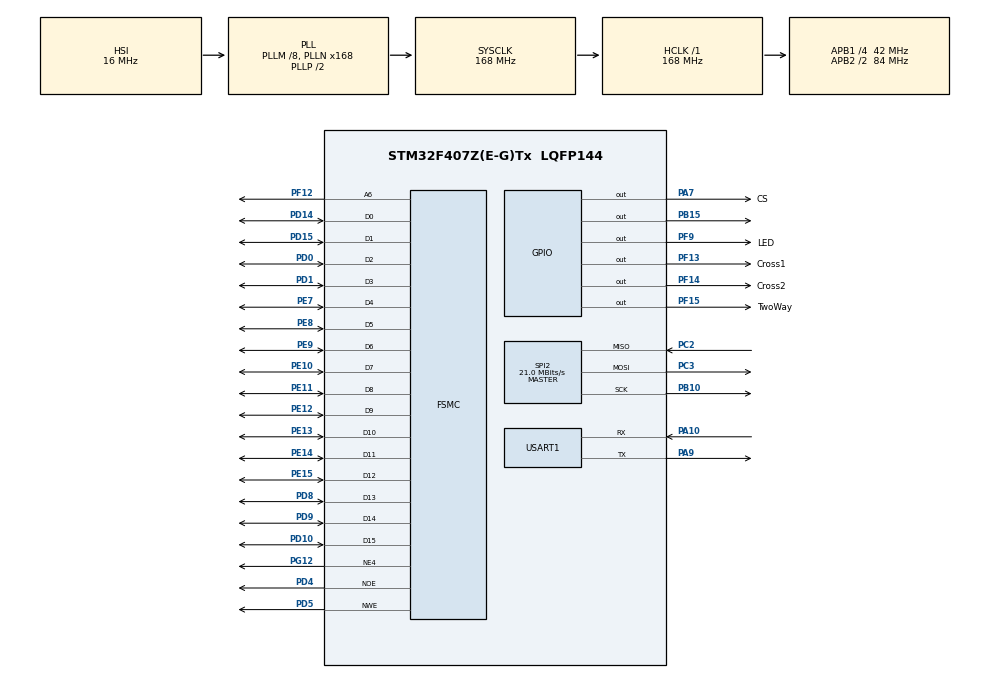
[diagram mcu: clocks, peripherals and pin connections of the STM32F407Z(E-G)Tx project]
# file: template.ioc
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Dma.Request0=USART1_TX
Dma.USART1_TX.0.Direction=DMA_MEMORY_TO_PERIPH
Dma.USART1_TX.0.FIFOMode=DMA_FIFOMODE_DISABLE
Dma.USART1_TX.0.Instance=DMA2_Stream7
Dma.USART1_TX.0.MemDataAlignment=DMA_MDATAALIGN_BYTE
Dma.USART1_TX.0.MemInc=DMA_MINC_ENABLE
Dma.USART1_TX.0.Mode=DMA_NORMAL
Dma.USART1_TX.0.PeriphDataAlignment=DMA_PDATAALIGN_BYTE
Dma.USART1_TX.0.PeriphInc=DMA_PINC_DISABLE
Dma.USART1_TX.0.Priority=DMA_PRIORITY_LOW
FREERTOS.Tasks01=defaultTask,0,128,StartDefaultTask,Default,NULL,Dynamic,NULL,NULL
FREERTOS.configENABLE_FPU=1
FREERTOS.configUSE_TICKLESS_IDLE=0
FREERTOS.configUSE_TICK_HOOK=1
FSMC.BusTurnAroundDuration1=10
FSMC.DataSetupTime1=60
FSMC.ExtendedAddressSetupTime1=9
FSMC.ExtendedBusTurnAroundDuration1=0
FSMC.ExtendedDataSetupTime1=8
FSMC.ExtendedMode1=FSMC_EXTENDED_MODE_ENABLE
Mcu.Family=STM32F4
Mcu.Name=STM32F407Z(E-G)Tx
Mcu.Package=LQFP144
NVIC.DMA2_Stream7_IRQn=true\:5\:0\:false\:false\:true\:true\:false\:true
NVIC.PriorityGroup=NVIC_PRIORITYGROUP_4
NVIC.TIM8_TRG_COM_TIM14_IRQn=true\:0\:0\:false\:false\:true\:false\:false\:true
NVIC.TimeBase=TIM8_TRG_COM_TIM14_IRQn
NVIC.TimeBaseIP=TIM14
NVIC.USART1_IRQn=true\:5\:0\:false\:false\:true\:true\:true\:true
PA10.Mode=Asynchronous
PA10.Signal=USART1_RX
PA13.Mode=Serial_Wire
PA13.Signal=SYS_JTMS-SWDIO
PA14.Mode=Serial_Wire
PA14.Signal=SYS_JTCK-SWCLK
PA7.GPIO_Label=CS
PA7.Signal=GPIO_Output
PA9.Mode=Asynchronous
PA9.Signal=USART1_TX
PB10.Mode=Full_Duplex_Master
PB10.Signal=SPI2_SCK
PB15.Signal=GPIO_Output
PC14-OSC32_IN.Mode=LSE-External-Oscillator
PC14-OSC32_IN.Signal=RCC_OSC32_IN
PC15-OSC32_OUT.Mode=LSE-External-Oscillator
PC15-OSC32_OUT.Signal=RCC_OSC32_OUT
PC2.Mode=Full_Duplex_Master
PC2.Signal=SPI2_MISO
PC3.Mode=Full_Duplex_Master
PC3.Signal=SPI2_MOSI
PD0.Signal=FSMC_D2_DA2
PD1.Signal=FSMC_D3_DA3
PD10.Signal=FSMC_D15_DA15
PD14.Signal=FSMC_D0_DA0
PD15.Signal=FSMC_D1_DA1
PD4.Signal=FSMC_NOE
PD5.Signal=FSMC_NWE
PD8.Signal=FSMC_D13_DA13
PD9.Signal=FSMC_D14_DA14
PE10.Signal=FSMC_D7_DA7
PE11.Signal=FSMC_D8_DA8
PE12.Signal=FSMC_D9_DA9
PE13.Signal=FSMC_D10_DA10
PE14.Signal=FSMC_D11_DA11
PE15.Signal=FSMC_D12_DA12
PE7.Signal=FSMC_D4_DA4
PE8.Signal=FSMC_D5_DA5
PE9.Signal=FSMC_D6_DA6
PF12.Signal=FSMC_A6
PF13.GPIO_Label=Cross1
PF13.Signal=GPIO_Output
PF14.GPIO_Label=Cross2
PF14.Signal=GPIO_Output
PF15.GPIO_Label=TwoWay
PF15.Signal=GPIO_Output
PF9.GPIO_Label=LED
PF9.Signal=GPIO_Output
PG12.Mode=NorPsramChipSelect4_1
PG12.Signal=FSMC_NE4
PH0-OSC_IN.Mode=HSE-External-Oscillator
PH0-OSC_IN.Signal=RCC_OSC_IN
PH1-OSC_OUT.Mode=HSE-External-Oscillator
PH1-OSC_OUT.Signal=RCC_OSC_OUT
ProjectManager.HeapSize=0x3000
ProjectManager.StackSize=0x2000
ProjectManager.TargetToolchain=Makefile
RCC.48MHZClocksFreq_Value=84000000
RCC.AHBFreq_Value=168000000
RCC.APB1CLKDivider=RCC_HCLK_DIV4
RCC.APB1Freq_Value=42000000
RCC.APB1TimFreq_Value=84000000
RCC.APB2CLKDivider=RCC_HCLK_DIV2
RCC.APB2Freq_Value=84000000
RCC.APB2TimFreq_Value=168000000
RCC.CortexFreq_Value=168000000
RCC.HCLKFreq_Value=168000000
RCC.HSE_VALUE=25000000
RCC.HSI_VALUE=16000000
RCC.PLLM=8
RCC.PLLN=168
RCC.SYSCLKFreq_VALUE=168000000
RCC.SYSCLKSource=RCC_SYSCLKSOURCE_PLLCLK
RCC.VCOOutputFreq_Value=336000000
SH.FSMC_A6.0=FSMC_A6,A6_1
SH.FSMC_D0_DA0.0=FSMC_D0,16b-d1
SH.FSMC_D10_DA10.0=FSMC_D10,16b-d1
SH.FSMC_D11_DA11.0=FSMC_D11,16b-d1
SH.FSMC_D12_DA12.0=FSMC_D12,16b-d1
SH.FSMC_D13_DA13.0=FSMC_D13,16b-d1
SH.FSMC_D14_DA14.0=FSMC_D14,16b-d1
SH.FSMC_D15_DA15.0=FSMC_D15,16b-d1
SH.FSMC_D1_DA1.0=FSMC_D1,16b-d1
SH.FSMC_D2_DA2.0=FSMC_D2,16b-d1
SH.FSMC_D3_DA3.0=FSMC_D3,16b-d1
SH.FSMC_D4_DA4.0=FSMC_D4,16b-d1
SH.FSMC_D5_DA5.0=FSMC_D5,16b-d1
SH.FSMC_D6_DA6.0=FSMC_D6,16b-d1
SH.FSMC_D7_DA7.0=FSMC_D7,16b-d1
SH.FSMC_D8_DA8.0=FSMC_D8,16b-d1
SH.FSMC_D9_DA9.0=FSMC_D9,16b-d1
SH.FSMC_NOE.0=FSMC_NOE,Lcd1
SH.FSMC_NWE.0=FSMC_NWE,Lcd1
SPI2.CalculateBaudRate=21.0 MBits/s
SPI2.Direction=SPI_DIRECTION_2LINES
SPI2.Mode=SPI_MODE_MASTER
SPI2.VirtualType=VM_MASTER
USART1.VirtualMode=VM_ASYNC
VP_FREERTOS_VS_CMSIS_V1.Mode=CMSIS_V1
VP_SYS_VS_tim14.Mode=TIM14
board=custom

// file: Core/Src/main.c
/* USER CODE BEGIN Header */
/**
  ******************************************************************************
  * @file           : main.c
  * @brief          : Main program body
  ******************************************************************************
  * @attention
  *
  * <h2><center>&copy; Copyright (c) 2021 STMicroelectronics.
  * All rights reserved.</center></h2>
  *
  * This software component is licensed by ST under Ultimate Liberty license
  * SLA0044, the "License"; You may not use this file except in compliance with
  * the License. You may obtain a copy of the License at:
  *                             www.st.com/SLA0044
  *
  ******************************************************************************
  */
/* USER CODE END Header */
#include "main.h"
#include "cmsis_os.h"
#include "dma.h"
#include "spi.h"
#include "usart.h"
#include "gpio.h"
#include "fsmc.h"

/* USER CODE BEGIN Includes */
#include "lvgl.h"
#include "lvgl_app.h"
#include <stdio.h>
#include <string.h>
#include <math.h>
#include "arm_math.h"
#include "arm_const_structs.h"

/* USER CODE END Includes */

void SystemClock_Config(void);
void MX_FREERTOS_Init(void);

int main(void)
{

  /* MCU Configuration--------------------------------------------------------*/

  /* Reset of all peripherals, Initializes the Flash interface and the Systick. */
  HAL_Init();

  /* Configure the system clock */
  SystemClock_Config();

  /* Initialize all configured peripherals */
  MX_GPIO_Init();
  MX_DMA_Init();
  MX_USART1_UART_Init();
  MX_FSMC_Init();
  MX_SPI2_Init();
  /* USER CODE BEGIN 2 */
  // lv_init();
  // lv_port_disp_init();        // 显示器初始化
  // lv_port_indev_init();       // 输入设备初始化（如果没有实现就注释掉）
  // // lv_port_fs_init();          // 文件系统设备初始化（如果没有实现就注释掉）

  // wave_chart_init();
  // wave_btn();
  // HAL_TIM_Base_Start_IT(&htim2);
  /* USER CODE END 2 */

  /* Call init function for freertos objects (in freertos.c) */
  MX_FREERTOS_Init();
  /* Start scheduler */
  osKernelStart();

  /* We should never get here as control is now taken by the scheduler */
  /* Infinite loop */
  while (1)
  {

  }
}

void SystemClock_Config(void)
{
  RCC_OscInitTypeDef RCC_OscInitStruct = {0};
  RCC_ClkInitTypeDef RCC_ClkInitStruct = {0};

  /** Configure the main internal regulator output voltage
  */
  __HAL_RCC_PWR_CLK_ENABLE();
  __HAL_PWR_VOLTAGESCALING_CONFIG(PWR_REGULATOR_VOLTAGE_SCALE1);
  /** Initializes the RCC Oscillators according to the specified parameters
  * in the RCC_OscInitTypeDef structure.
  */
  RCC_OscInitStruct.OscillatorType = RCC_OSCILLATORTYPE_HSI;
  RCC_OscInitStruct.HSIState = RCC_HSI_ON;
  RCC_OscInitStruct.HSICalibrationValue = RCC_HSICALIBRATION_DEFAULT;
  RCC_OscInitStruct.PLL.PLLState = RCC_PLL_ON;
  RCC_OscInitStruct.PLL.PLLSource = RCC_PLLSOURCE_HSI;
  RCC_OscInitStruct.PLL.PLLM = 8;
  RCC_OscInitStruct.PLL.PLLN = 168;
  RCC_OscInitStruct.PLL.PLLP = RCC_PLLP_DIV2;
  RCC_OscInitStruct.PLL.PLLQ = 4;
  if (HAL_RCC_OscConfig(&RCC_OscInitStruct) != HAL_OK)
  {
    Error_Handler();
  }
  /** Initializes the CPU, AHB and APB buses clocks
  */
  RCC_ClkInitStruct.ClockType = RCC_CLOCKTYPE_HCLK|RCC_CLOCKTYPE_SYSCLK
                              |RCC_CLOCKTYPE_PCLK1|RCC_CLOCKTYPE_PCLK2;
  RCC_ClkInitStruct.SYSCLKSource = RCC_SYSCLKSOURCE_PLLCLK;
  RCC_ClkInitStruct.AHBCLKDivider = RCC_SYSCLK_DIV1;
  RCC_ClkInitStruct.APB1CLKDivider = RCC_HCLK_DIV4;
  RCC_ClkInitStruct.APB2CLKDivider = RCC_HCLK_DIV2;

  if (HAL_RCC_ClockConfig(&RCC_ClkInitStruct, FLASH_LATENCY_5) != HAL_OK)
  {
    Error_Handler();
  }
}

void HAL_TIM_PeriodElapsedCallback(TIM_HandleTypeDef *htim)
{
  if (htim->Instance == TIM14) {
    HAL_IncTick();
  }
}

void Error_Handler(void)
{
  __disable_irq();
  while (1)
  {
  }
}

/************************ (C) COPYRIGHT STMicroelectronics *****END OF FILE****/

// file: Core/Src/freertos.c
/* USER CODE BEGIN Header */
/**
  ******************************************************************************
  * File Name          : freertos.c
  * Description        : Code for freertos applications
  ******************************************************************************
  * @attention
  *
  * <h2><center>&copy; Copyright (c) 2021 STMicroelectronics.
  * All rights reserved.</center></h2>
  *
  * This software component is licensed by ST under Ultimate Liberty license
  * SLA0044, the "License"; You may not use this file except in compliance with
  * the License. You may obtain a copy of the License at:
  *                             www.st.com/SLA0044
  *
  ******************************************************************************
  */
/* USER CODE END Header */

#include "FreeRTOS.h"
#include "task.h"
#include "main.h"
#include "cmsis_os.h"

/* USER CODE BEGIN Includes */
#include "lvgl.h"
#include "lvgl_app.h"
#include "spi.h"
#include <stdio.h>
#include <string.h>
/* USER CODE END Includes */

/* USER CODE BEGIN PTD */
#define CS_Disable()   HAL_GPIO_WritePin(CS_GPIO_Port,CS_Pin,GPIO_PIN_SET)
#define CS_Enable()    HAL_GPIO_WritePin(CS_GPIO_Port,CS_Pin,GPIO_PIN_RESET)

/* 向RC522写入指定地址的数据 */
void WriteLED(uint8_t ucAddress, uint8_t ucValue)
{
	uint8_t sentData[2];
	sentData[0] = ucAddress;
  sentData[1] = ucValue;
	CS_Enable();
	HAL_SPI_Transmit(&hspi2,(uint8_t*)sentData,2,0xFFFF);
	CS_Disable();
}
/* USER CODE END PTD */

/* USER CODE BEGIN Variables */
osThreadId lvglTaskHandle;
osThreadId LEDTaskHandle;
extern lv_obj_t * wave_chart;
extern lv_chart_series_t * wave_ser;

/* USER CODE END Variables */
osThreadId defaultTaskHandle;

/* USER CODE BEGIN FunctionPrototypes */
void LEDMAT(void){

  WriteLED(0x00, 0xFF);
  WriteLED(0x09, 0x00);
  WriteLED(0x0F, 0x00);
  WriteLED(0x0B, 0x07);
  WriteLED(0x0A, 0x04);
  WriteLED(0x0C, 0x01);

  for (;;)
  {
    WriteLED(0x01, 0x0F);
    osDelay(1);
  }
}

void lvgl_init(void){
  /* lvgl init */
  lv_init();
  lv_port_disp_init();        // 显示器初始化
  lv_port_indev_init();       // 输入设备初始化（如果没有实现就注释掉）
  // lv_port_fs_init();          // 文件系统设备初始化（如果没有实现就注释掉）

  wave_chart_init();
  wave_btn();
  distortion_list();
  THD_label();

  for (;;)
  {
    osDelay(LVGL_TICK);
    lv_task_handler();
  }
}

/* USER CODE END FunctionPrototypes */

void StartDefaultTask(void const * argument);

void MX_FREERTOS_Init(void); /* (MISRA C 2004 rule 8.1) */

/* GetIdleTaskMemory prototype (linked to static allocation support) */
void vApplicationGetIdleTaskMemory( StaticTask_t **ppxIdleTaskTCBBuffer, StackType_t **ppxIdleTaskStackBuffer, uint32_t *pulIdleTaskStackSize );

/* Hook prototypes */
void vApplicationTickHook(void);

/* USER CODE BEGIN 3 */
void vApplicationTickHook( void )
{
   /* This function will be called by each tick interrupt if
   configUSE_TICK_HOOK is set to 1 in FreeRTOSConfig.h. User code can be
   added here, but the tick hook is called from an interrupt context, so
   code must not attempt to block, and only the interrupt safe FreeRTOS API
   functions can be used (those that end in FromISR()). */
   lv_tick_inc(1);
}
/* USER CODE END 3 */

/* USER CODE BEGIN GET_IDLE_TASK_MEMORY */
static StaticTask_t xIdleTaskTCBBuffer;
static StackType_t xIdleStack[configMINIMAL_STACK_SIZE];

void vApplicationGetIdleTaskMemory( StaticTask_t **ppxIdleTaskTCBBuffer, StackType_t **ppxIdleTaskStackBuffer, uint32_t *pulIdleTaskStackSize )
{
  *ppxIdleTaskTCBBuffer = &xIdleTaskTCBBuffer;
  *ppxIdleTaskStackBuffer = &xIdleStack[0];
  *pulIdleTaskStackSize = configMINIMAL_STACK_SIZE;
  /* place for user code */
}
/* USER CODE END GET_IDLE_TASK_MEMORY */

void MX_FREERTOS_Init(void) {

  /* Create the thread(s) */
  /* definition and creation of defaultTask */
  osThreadDef(defaultTask, StartDefaultTask, osPriorityNormal, 0, 128);
  defaultTaskHandle = osThreadCreate(osThread(defaultTask), NULL);

  /* USER CODE BEGIN RTOS_THREADS */

  /* add threads, ... */
  // osThreadDef(lvgl, lvgl_init, osPriorityRealtime , 0, 512);
  // lvglTaskHandle = osThreadCreate(osThread(lvgl), NULL);
  osThreadDef(LED, LEDMAT, osPriorityNormal , 0, 512);
  LEDTaskHandle = osThreadCreate(osThread(LED), NULL);

  /* USER CODE END RTOS_THREADS */

}

void StartDefaultTask(void const * argument)
{
  /* USER CODE BEGIN StartDefaultTask */
  /* Infinite loop */
  for(;;)
  {
    //printf("1\r\n");
    osDelay(1);
  }
  /* USER CODE END StartDefaultTask */
}

/************************ (C) COPYRIGHT STMicroelectronics *****END OF FILE****/

/************************ (C) COPYRIGHT STMicroelectronics *****END OF FILE****/
